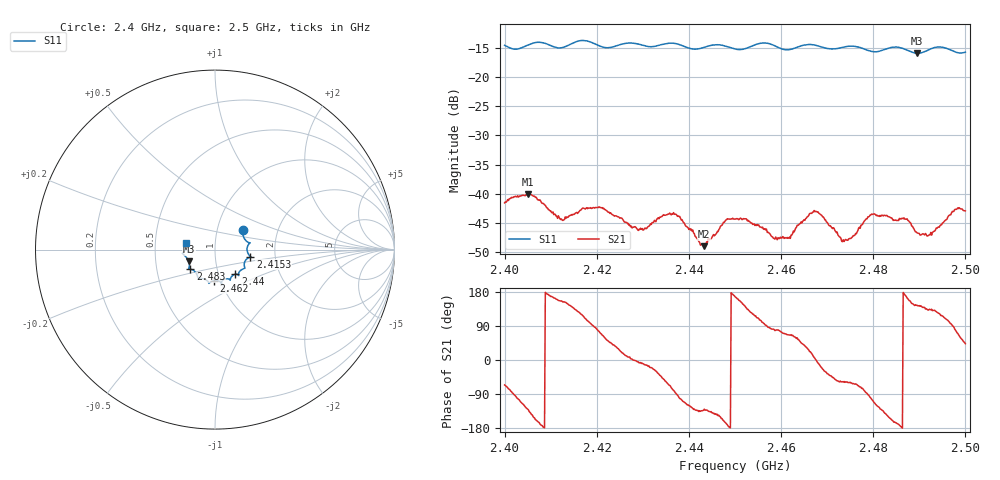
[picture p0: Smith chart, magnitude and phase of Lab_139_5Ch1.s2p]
# Hz S RI R 50
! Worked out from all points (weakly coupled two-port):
!   601 points, 2.4 GHz to 2.5 GHz, reference 50 ohm
!   highest |S21| = -40.05 dB at 2.405 GHz (marker M1); lowest = -49.0 dB at 2.4433 GHz (marker M2)
!   lowest |S11| = -15.9 dB at 2.4895 GHz (marker M3), VSWR 1.38, Z = 36.9 - j5 ohm
!   |S11| at or under -10 dB: start of sweep to end of sweep
!   S12 and S22 are empty: the file has one direction only
!   S11 on the Smith chart (normalised r, x): 2.4 GHz: 1.33, +0.29; 2.4153 GHz: 1.48, -0.12; 2.44 GHz: 1.20, -0.34; 2.462 GHz: 0.93, -0.33; 2.483 GHz: 0.74, -0.17; 2.5 GHz: 0.72, +0.06
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2.4e9  0.1551 0.1064  0.00342 -0.0076  0 0  0 0
2.405e9  0.1841 0.0405  -0.00637 -0.00763  0 0  0 0
2.412333e9  0.1789 -0.00518  -0.00554 0.00246  0 0  0 0
2.415333e9  0.1967 -0.0387  -0.00465 0.00495  0 0  0 0
2.416667e9  0.2023 -0.0428  -0.00373 0.0063  0 0  0 0
2.421e9  0.1751 -0.054  0.00274 0.00704  0 0  0 0
2.429167e9  0.1603 -0.1059  0.00489 -0.000658  0 0  0 0
2.433333e9  0.1313 -0.1337  0.00506 -0.00361  0 0  0 0
2.436833e9  0.1322 -0.144  0.000887 -0.00659  0 0  0 0
2.44e9  0.1138 -0.1367  -0.0025 -0.00424  0 0  0 0
2.443333e9  0.0878 -0.158  -0.00226 -0.00272  0 0  0 0
2.45e9  0.0647 -0.1627  -0.00591 0.00135  0 0  0 0
2.462e9  -0.00538 -0.1731  0.0017 0.00376  0 0  0 0
2.466667e9  -0.0343 -0.1876  0.00648 0.00197  0 0  0 0
2.473667e9  -0.0854 -0.1604  0.00212 -0.00325  0 0  0 0
2.479333e9  -0.1051 -0.1303  -0.000975 -0.00648  0 0  0 0
2.483e9  -0.1378 -0.1095  -0.00536 -0.00364  0 0  0 0
2.483333e9  -0.1402 -0.1093  -0.00552 -0.00311  0 0  0 0
2.4895e9  -0.1463 -0.0659  -0.00375 0.00269  0 0  0 0
2.492167e9  -0.1697 -0.0333  -0.00307 0.00319  0 0  0 0
2.497667e9  -0.1656 0.00125  0.00103 0.00721  0 0  0 0
2.5e9  -0.1597 0.0392  0.00521 0.00484  0 0  0 0
